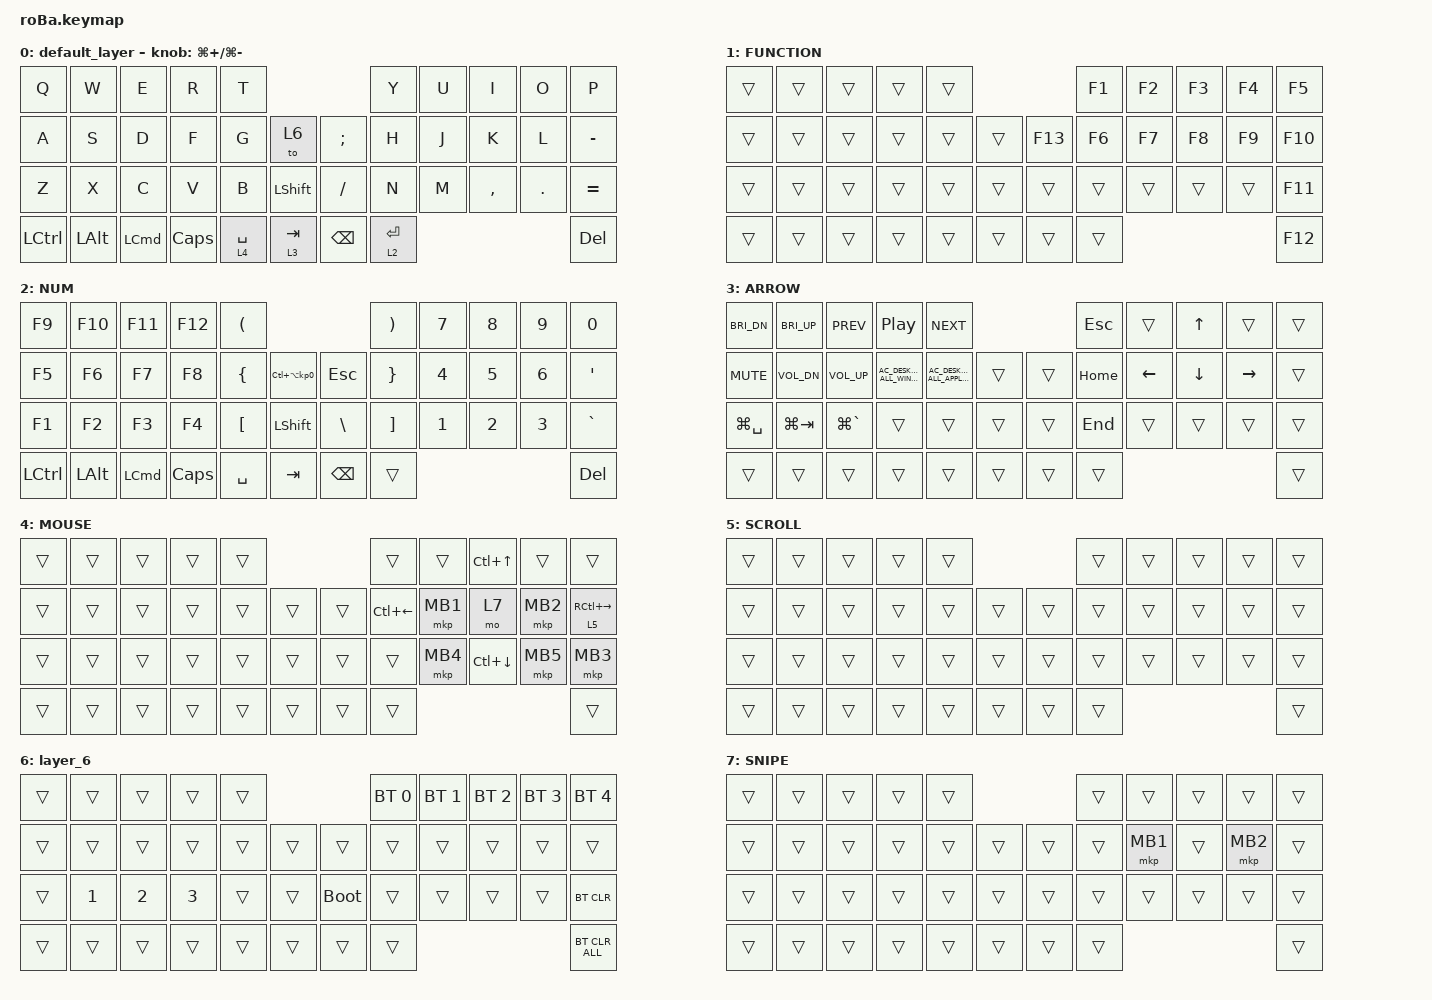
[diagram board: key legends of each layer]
#include <input/processors.dtsi>
#include <dt-bindings/zmk/input_transform.h>
#include <behaviors.dtsi>
#include <dt-bindings/zmk/bt.h>
#include <dt-bindings/zmk/keys.h>
#include <dt-bindings/zmk/pointing.h>

#define ZMK_POINTING_DEFAULT_SCRL_VAL 40

&mt {
    flavor = "balanced";
    quick-tap-ms = <0>;
};

&lt {
    flavor = "balanced";
    quick-tap-ms = <175>;
};

&trackball {
    scroll-layers = <5>;
    snipe-layers = <7>;
    automouse-layer = <4>;

    // arrows {
    //     layers = <3>;
    //     bindings =
    //         <&kp RIGHT_ARROW>,
    //         <&kp LEFT_ARROW>,
    //         <&kp UP_ARROW>,
    //         <&kp DOWN_ARROW>;
    //     tick = <10>;
    //     wait-ms = <5>;
    //     tap-ms = <5>;
    // };
};

/ {
    combos {
        compatible = "zmk,combos";

        tab {
            bindings = <&kp TAB>;
            key-positions = <11 12>;
        };

        shift_tab {
            bindings = <&kp LS(TAB)>;
            key-positions = <12 13>;
        };

        muhennkann {
            bindings = <&to_layer_0 INT_MUHENKAN>;
            key-positions = <11 10>;
        };

        double_quotation {
            bindings = <&kp DOUBLE_QUOTES>;
            key-positions = <20 21>;
        };

        eq {
            bindings = <&kp EQUAL>;
            key-positions = <24 25>;
        };
    };

    macros {
        to_layer_0: to_layer_0 {
            compatible = "zmk,behavior-macro-one-param";
            #binding-cells = <1>;
            bindings = <&to 0 &macro_param_1to1 &kp MACRO_PLACEHOLDER>;
            label = "TO_LAYER_0";
        };
    };

    behaviors {
        lt_to_layer_0: lt_to_layer_0 {
            compatible = "zmk,behavior-hold-tap";
            label = "LAYER_TAP_TO_0";
            bindings = <&mo>, <&to_layer_0>;

            #binding-cells = <2>;
            tapping-term-ms = <200>;
        };

        encoder_msc_down_up: encoder_msc_down_up {
            compatible = "zmk,behavior-sensor-rotate";
            label = "ENCODER_MSC_DOWN_UP";
            #sensor-binding-cells = <0>;
            bindings = <&msc SCRL_UP>, <&msc SCRL_DOWN>;

            tap-ms = <20>;
        };
    };

    keymap {
        compatible = "zmk,keymap";

        default_layer {
            bindings = <
&kp Q             &kp W         &kp E             &kp R     &kp T                                           &kp Y        &kp U  &kp I      &kp O    &kp P
&kp A             &kp S         &kp D             &kp F     &kp G        &to 6               &kp SEMICOLON  &kp H        &kp J  &kp K      &kp L    &kp MINUS
&kp Z             &kp X         &kp C             &kp V     &kp B        &kp LEFT_SHIFT      &kp SLASH      &kp N        &kp M  &kp COMMA  &kp DOT  &kp EQUAL
&kp LEFT_CONTROL  &kp LEFT_ALT  &kp LEFT_COMMAND  &kp CLCK  &lt 4 SPACE  &lt 3 TAB           &kp BACKSPACE  &lt 2 ENTER                             &kp DEL
            >;

            sensor-bindings = <&inc_dec_kp LG(PLUS) LG(MINUS)>;
        };

        FUNCTION {
            bindings = <
&trans  &trans  &trans  &trans  &trans                       &kp F1  &kp F2  &kp F3  &kp F4  &kp F5
&trans  &trans  &trans  &trans  &trans  &trans      &kp F13  &kp F6  &kp F7  &kp F8  &kp F9  &kp F10
&trans  &trans  &trans  &trans  &trans  &trans      &trans   &trans  &trans  &trans  &trans  &kp F11
&trans  &trans  &trans  &trans  &trans  &trans      &trans   &trans                          &kp F12
            >;
        };

        NUM {
            bindings = <
&kp F9            &kp F10       &kp F11           &kp F12       &kp LEFT_PARENTHESIS                                              &kp RIGHT_PARENTHESIS  &kp NUMBER_7  &kp NUMBER_8  &kp NUMBER_9  &kp NUMBER_0
&kp F5            &kp F6        &kp F7            &kp F8        &kp LEFT_BRACE        &kp LC(LA(KP_NUMBER_0))      &kp ESCAPE     &kp RIGHT_BRACE        &kp NUMBER_4  &kp NUMBER_5  &kp NUMBER_6  &kp SQT
&kp F1            &kp F2        &kp F3            &kp F4        &kp LEFT_BRACKET      &kp LEFT_SHIFT               &kp BACKSLASH  &kp RIGHT_BRACKET      &kp NUMBER_1  &kp NUMBER_2  &kp NUMBER_3  &kp GRAVE
&kp LEFT_CONTROL  &kp LEFT_ALT  &kp LEFT_COMMAND  &kp CAPSLOCK  &kp SPACE             &kp TAB                      &kp BACKSPACE  &trans                                                           &kp DELETE
            >;
        };

        ARROW {
            bindings = <
&kp C_BRI_DN   &kp C_BRI_UP  &kp C_PREV     &kp C_PP                           &kp C_NEXT                                                  &kp ESCAPE  &trans    &kp UP_ARROW    &trans     &trans
&kp C_MUTE     &kp C_VOL_DN  &kp C_VOL_UP   &kp C_AC_DESKTOP_SHOW_ALL_WINDOWS  &kp C_AC_DESKTOP_SHOW_ALL_APPLICATIONS  &trans      &trans  &kp HOME    &kp LEFT  &kp DOWN_ARROW  &kp RIGHT  &trans
&kp LG(SPACE)  &kp LG(TAB)   &kp LG(GRAVE)  &trans                             &trans                                  &trans      &trans  &kp END     &trans    &trans          &trans     &trans
&trans         &trans        &trans         &trans                             &trans                                  &trans      &trans  &trans                                           &trans
            >;
        };

        MOUSE {
            bindings = <
&trans  &trans  &trans  &trans  &trans                      &trans        &trans    &kp LC(UP_ARROW)    &trans    &trans
&trans  &trans  &trans  &trans  &trans  &trans      &trans  &kp LC(LEFT)  &mkp MB1  &mo 7               &mkp MB2  &lt 5 RC(RIGHT_ARROW)
&trans  &trans  &trans  &trans  &trans  &trans      &trans  &trans        &mkp MB4  &kp LC(DOWN_ARROW)  &mkp MB5  &mkp MB3
&trans  &trans  &trans  &trans  &trans  &trans      &trans  &trans                                                &trans
            >;
        };

        SCROLL {
            bindings = <
&trans  &trans  &trans  &trans  &trans                      &trans  &trans  &trans  &trans  &trans
&trans  &trans  &trans  &trans  &trans  &trans      &trans  &trans  &trans  &trans  &trans  &trans
&trans  &trans  &trans  &trans  &trans  &trans      &trans  &trans  &trans  &trans  &trans  &trans
&trans  &trans  &trans  &trans  &trans  &trans      &trans  &trans                          &trans
            >;
        };

        layer_6 {
            bindings = <
&trans  &trans        &trans        &trans        &trans                           &bt BT_SEL 0  &bt BT_SEL 1  &bt BT_SEL 2  &bt BT_SEL 3  &bt BT_SEL 4
&trans  &trans        &trans        &trans        &trans  &trans      &trans       &trans        &trans        &trans        &trans        &trans
&trans  &kp NUMBER_1  &kp NUMBER_2  &kp NUMBER_3  &trans  &trans      &bootloader  &trans        &trans        &trans        &trans        &bt BT_CLR
&trans  &trans        &trans        &trans        &trans  &trans      &trans       &trans                                                  &bt BT_CLR_ALL
            >;
        };

        SNIPE {
            bindings = <
&trans  &trans  &trans  &trans  &trans                      &trans  &trans    &trans  &trans    &trans
&trans  &trans  &trans  &trans  &trans  &trans      &trans  &trans  &mkp MB1  &trans  &mkp MB2  &trans
&trans  &trans  &trans  &trans  &trans  &trans      &trans  &trans  &trans    &trans  &trans    &trans
&trans  &trans  &trans  &trans  &trans  &trans      &trans  &trans                              &trans
            >;
        };
    };
};
